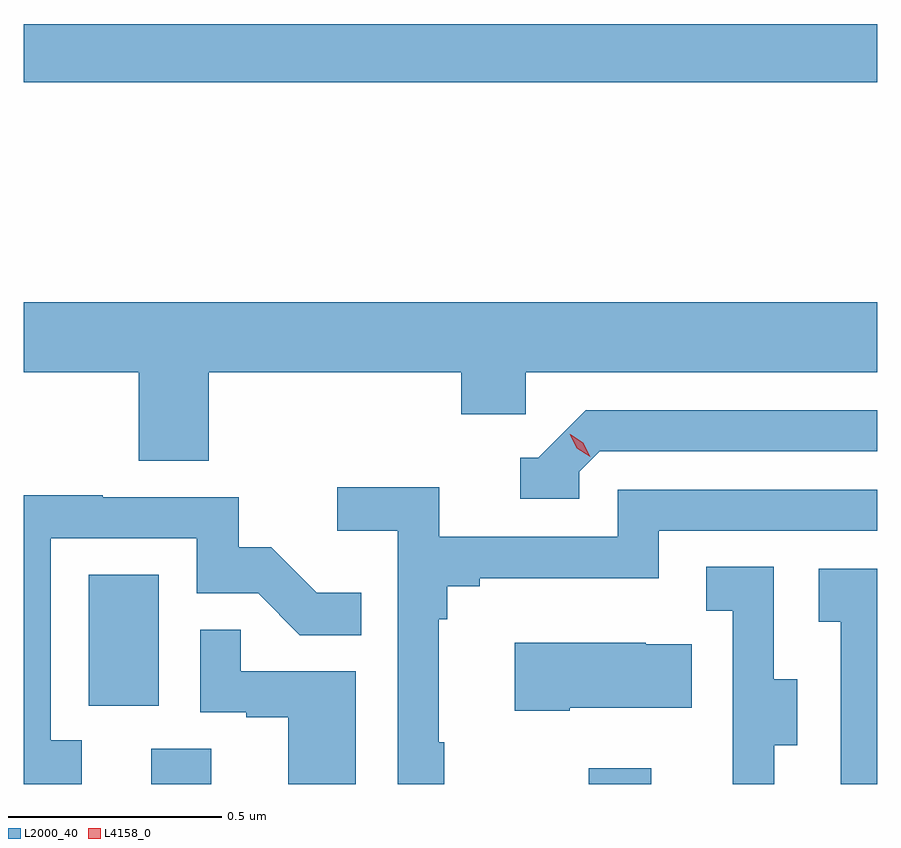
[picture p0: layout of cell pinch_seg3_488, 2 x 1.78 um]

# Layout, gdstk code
import gdstk
lib = gdstk.Library(unit=1e-6, precision=1e-09)
def R(c, l, rs):  # rectangles x0, y0, x1, y1
    for r in rs: c.add(gdstk.rectangle(r[:2], r[2:], *l))
def P(c, l, *ps):  # polygons
    for p in ps: c.add(gdstk.Polygon(p, *l))
L2000_40 = (2000, 40)
L4158_0 = (4158, 0)

pinch_seg3_488 = lib.new_cell('pinch_seg3_488')
R(pinch_seg3_488, L2000_40, [(1008.845,670.647,1008.985,670.73), (1009.87,670.647,1010.017,670.684), (1008.698,670.83,1008.862,671.137), (1008.546,672.292,1010.546,672.428)])
P(pinch_seg3_488, L2000_40, [(1008.98,671.612),(1009.571,671.612),(1009.571,671.514),(1009.722,671.514),(1009.722,671.612),(1010.546,671.612),(1010.546,671.776),(1008.546,671.776),(1008.546,671.612),(1008.815,671.612),(1008.815,671.404),(1008.98,671.404)],
  [(1009.848,671.379),(1009.896,671.427),(1010.546,671.427),(1010.546,671.523),(1009.863,671.523),(1009.752,671.412),(1009.709,671.412),(1009.709,671.316),(1009.848,671.316)],
  [(1009.531,670.745),(1009.519,670.745),(1009.519,671.033),(1009.538,671.033),(1009.538,671.11),(1009.615,671.11),(1009.615,671.129),(1010.034,671.129),(1010.034,671.241),(1010.546,671.241),(1010.546,671.337),(1009.938,671.337),(1009.938,671.226),(1009.52,671.226),(1009.52,671.342),(1009.281,671.342),(1009.281,671.24),(1009.422,671.24),(1009.422,670.647),(1009.531,670.647)],
  [(1008.682,670.749),(1008.609,670.749),(1008.609,671.223),(1008.951,671.223),(1008.951,671.094),(1009.095,671.094),(1009.193,670.996),(1009.337,670.996),(1009.337,671.095),(1009.233,671.095),(1009.126,671.202),(1009.05,671.202),(1009.05,671.319),(1008.731,671.319),(1008.731,671.324),(1008.546,671.324),(1008.546,670.647),(1008.682,670.647)],
  [(1010.305,670.738),(1010.359,670.738),(1010.359,670.893),(1010.304,670.893),(1010.304,671.156),(1010.145,671.156),(1010.145,671.053),(1010.208,671.053),(1010.208,670.749),(1010.207,670.749),(1010.207,670.647),(1010.305,670.647)],
  [(1010.546,671.151),(1010.409,671.151),(1010.409,671.027),(1010.46,671.027),(1010.46,670.647),(1010.546,670.647)],
  [(1009.324,670.911),(1009.055,670.911),(1009.055,671.009),(1008.96,671.009),(1008.96,670.815),(1009.067,670.815),(1009.067,670.803),(1009.166,670.803),(1009.166,670.647),(1009.324,670.647)],
  [(1009.825,670.826),(1010.111,670.826),(1010.111,670.975),(1010.003,670.975),(1010.003,670.978),(1009.697,670.978),(1009.697,670.819),(1009.825,670.819)])
P(pinch_seg3_488, L4158_0, [(1009.873,671.414),(1009.842,671.434),(1009.826,671.467),(1009.826,671.467),(1009.827,671.467),(1009.857,671.447),(1009.873,671.414),(1009.873,671.414)])

lib.write_gds('pinch_seg3_488.gds')
